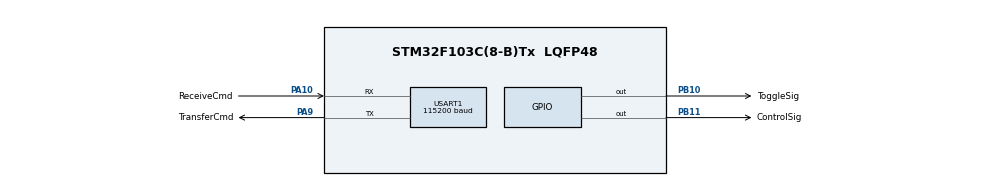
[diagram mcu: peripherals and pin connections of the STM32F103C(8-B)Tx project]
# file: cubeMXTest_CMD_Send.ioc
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Mcu.Family=STM32F1
Mcu.Name=STM32F103C(8-B)Tx
Mcu.Package=LQFP48
NVIC.PriorityGroup=NVIC_PRIORITYGROUP_4
NVIC.USART1_IRQn=true\:0\:0\:false\:false\:true\:true\:true
PA10.GPIO_Label=ReceiveCmd
PA10.Mode=Asynchronous
PA10.Signal=USART1_RX
PA9.GPIO_Label=TransferCmd
PA9.Mode=Asynchronous
PA9.Signal=USART1_TX
PB10.GPIO_Label=ToggleSig
PB10.GPIO_PuPd=GPIO_PULLUP
PB10.GPIO_Speed=GPIO_SPEED_FREQ_HIGH
PB10.PinState=GPIO_PIN_SET
PB10.Signal=GPIO_Output
PB11.GPIO_Label=ControlSig
PB11.GPIO_PuPd=GPIO_PULLUP
PB11.GPIO_Speed=GPIO_SPEED_FREQ_HIGH
PB11.PinState=GPIO_PIN_SET
PB11.Signal=GPIO_Output
PD0-OSC_IN.Mode=HSE-External-Oscillator
PD0-OSC_IN.Signal=RCC_OSC_IN
PD1-OSC_OUT.Mode=HSE-External-Oscillator
PD1-OSC_OUT.Signal=RCC_OSC_OUT
ProjectManager.HeapSize=0x200
ProjectManager.StackSize=0x400
ProjectManager.TargetToolchain=Makefile
RCC.APB1Freq_Value=8000000
RCC.APB2Freq_Value=8000000
USART1.BaudRate=115200
USART1.VirtualMode=VM_ASYNC
VP_SYS_VS_ND.Mode=No_Debug
board=custom

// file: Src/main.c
/* USER CODE BEGIN Header */

/*********MASTER********/

/**
  ******************************************************************************
  * @file           : main.c
  * @brief          : Main program body
  ******************************************************************************
  * @attention
  *
  * <h2><center>&copy; Copyright (c) 2019 STMicroelectronics.
  * All rights reserved.</center></h2>
  *
  * This software component is licensed by ST under BSD 3-Clause license,
  * the "License"; You may not use this file except in compliance with the
  * License. You may obtain a copy of the License at:
  *                        opensource.org/licenses/BSD-3-Clause
  *
  ******************************************************************************
  */
/* USER CODE END Header */

#include "main.h"
#include "usart.h"
#include "gpio.h"

/* USER CODE BEGIN PD */
uint8_t rData[6];
uint8_t tData[] = "#ffff:0000#\n\r";
uint8_t cmdOn[] = "OOOOOO\n\r";
uint8_t cmdOff[] = "XXXXXX\n\r";
uint8_t endline[] = "\n\r";
uint8_t a = 0;
uint8_t a_str[10];
int loaded = 0;

#define ON 0x1
#define OFF 0xf
/* USER CODE END PD */

void SystemClock_Config(void);

/* USER CODE BEGIN 0 */
int fputc(int ch,FILE *f)
{
  //while(HAL_UART_GetState(&huart1) == HAL_UART_STATE_BUSY_TX);
  HAL_UART_Transmit(&huart1,(uint8_t *)&ch,1,0xFFFF);
  return ch;
}

int fgetc(FILE *f)
{
  uint8_t ch = 0;
  HAL_UART_Receive(&huart1, &ch, 1, 0xffff);
  return ch;
}

void SwitchOn(GPIO_TypeDef* LedPort, uint16_t LedPin)
{
  HAL_GPIO_WritePin(LedPort,LedPin,1);
}

void SwitchOff(GPIO_TypeDef* LedPort, uint16_t LedPin)
{
  HAL_GPIO_WritePin(LedPort,LedPin,0);
}

void PowerOn()
{
  SwitchOn(ControlSig_GPIO_Port, ControlSig_Pin);
}

void PowerOff()
{
  SwitchOff(ControlSig_GPIO_Port, ControlSig_Pin);
}

void Toggle()
{
  while(1){
    SwitchOn(ToggleSig_GPIO_Port, ToggleSig_Pin);
    HAL_Delay(3000);
    SwitchOff(ToggleSig_GPIO_Port, ToggleSig_Pin);
    HAL_Delay(3000);
  }
}

void sendData(uint8_t* message)
{
  HAL_UART_Transmit(&huart1, message, sizeof(message), 1000);
  while(HAL_UART_GetState(&huart1) == HAL_UART_STATE_BUSY_TX);
}

void endLine()
{
  HAL_UART_Transmit(&huart1, endline, sizeof(endline), 1000);
  while(HAL_UART_GetState(&huart1) == HAL_UART_STATE_BUSY_TX);
}

/* USER CODE END 0 */

int main(void)
{

  /* MCU Configuration--------------------------------------------------------*/

  /* Reset of all peripherals, Initializes the Flash interface and the Systick. */
  HAL_Init();

  /* Configure the system clock */
  SystemClock_Config();

  /* Initialize all configured peripherals */
  MX_GPIO_Init();
  MX_USART1_UART_Init();

  /* Infinite loop */
  while (1)
  {

    /* USER CODE BEGIN 3 */

    //Toggle();
    while(!loaded){
      //发送地址
      HAL_UART_Transmit(&huart1, tData, sizeof(tData), 1000);
      while(HAL_UART_GetState(&huart1) == HAL_UART_STATE_BUSY_TX);

      //检测总控是否识别
      HAL_UART_Receive(&huart1, rData, sizeof(rData), 1000);
      while(HAL_UART_GetState(&huart1) == HAL_UART_STATE_BUSY_RX);
      if(rData[1] == 'R'){
        loaded = 1;
        break;
      }
    }

    //发送指令
    sendData(cmdOn);
    HAL_Delay(500);
    sendData(cmdOff);
    HAL_Delay(500);
  }
  /* USER CODE END 3 */
}

void SystemClock_Config(void)
{
  RCC_OscInitTypeDef RCC_OscInitStruct = {0};
  RCC_ClkInitTypeDef RCC_ClkInitStruct = {0};

  /** Initializes the CPU, AHB and APB busses clocks
  */
  RCC_OscInitStruct.OscillatorType = RCC_OSCILLATORTYPE_HSI;
  RCC_OscInitStruct.HSIState = RCC_HSI_ON;
  RCC_OscInitStruct.HSICalibrationValue = RCC_HSICALIBRATION_DEFAULT;
  RCC_OscInitStruct.PLL.PLLState = RCC_PLL_NONE;
  if (HAL_RCC_OscConfig(&RCC_OscInitStruct) != HAL_OK)
  {
    Error_Handler();
  }
  /** Initializes the CPU, AHB and APB busses clocks
  */
  RCC_ClkInitStruct.ClockType = RCC_CLOCKTYPE_HCLK|RCC_CLOCKTYPE_SYSCLK
                              |RCC_CLOCKTYPE_PCLK1|RCC_CLOCKTYPE_PCLK2;
  RCC_ClkInitStruct.SYSCLKSource = RCC_SYSCLKSOURCE_HSI;
  RCC_ClkInitStruct.AHBCLKDivider = RCC_SYSCLK_DIV1;
  RCC_ClkInitStruct.APB1CLKDivider = RCC_HCLK_DIV1;
  RCC_ClkInitStruct.APB2CLKDivider = RCC_HCLK_DIV1;

  if (HAL_RCC_ClockConfig(&RCC_ClkInitStruct, FLASH_LATENCY_0) != HAL_OK)
  {
    Error_Handler();
  }
}

void Error_Handler(void)
{
}

/************************ (C) COPYRIGHT STMicroelectronics *****END OF FILE****/
